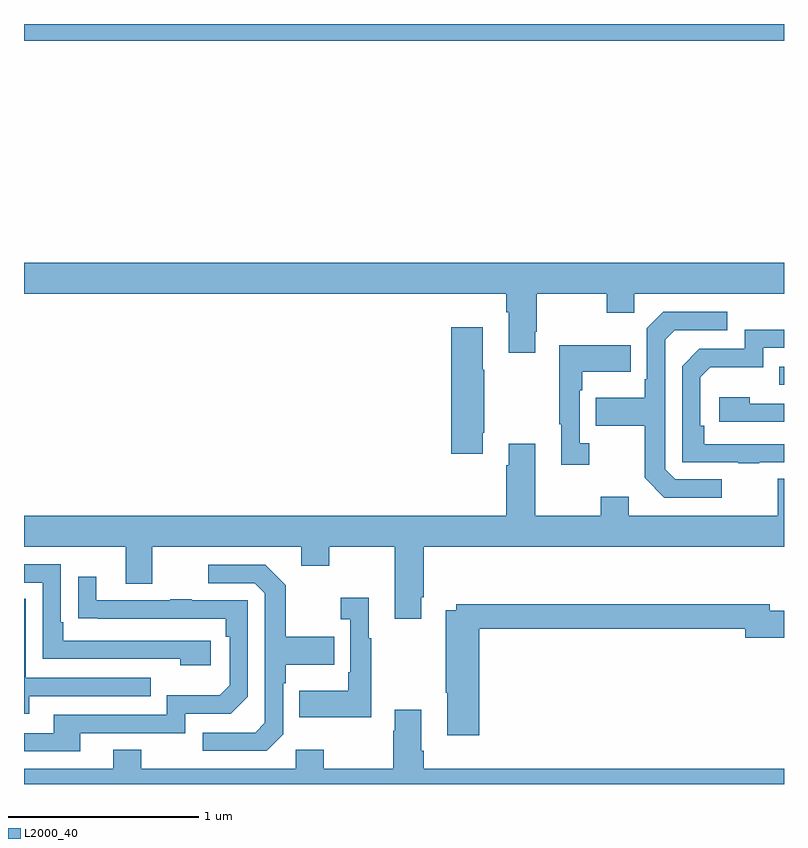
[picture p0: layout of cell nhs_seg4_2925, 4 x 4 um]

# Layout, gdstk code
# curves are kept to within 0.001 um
import gdstk
lib = gdstk.Library(unit=1e-6, precision=1e-09)
def R(c, l, rs):  # rectangles x0, y0, x1, y1
    for r in rs: c.add(gdstk.rectangle(r[:2], r[2:], *l))
def P(c, l, *ps):  # polygons
    for p in ps: c.add(gdstk.Polygon(p, *l))
L2000_40 = (2000, 40)

nhs_seg4_2925 = lib.new_cell('nhs_seg4_2925')
R(nhs_seg4_2925, L2000_40, [(268.975,803.001,269,803.097), (265,804.812,269,804.9)])
P(nhs_seg4_2925, L2000_40, [(267.691,803.281),(267.699,803.281),(267.699,803.48),(268.066,803.48),(268.066,803.381),(268.212,803.381),(268.212,803.48),(269,803.48),(269,803.644),(265,803.644),(265,803.48),(267.539,803.48),(267.539,803.384),(267.551,803.384),(267.551,803.169),(267.691,803.169)],
  [(268.672,802.503),(268.428,802.503),(268.374,802.557),(268.374,803.238),(268.425,803.289),(268.702,803.289),(268.702,803.385),(268.365,803.385),(268.278,803.298),(268.278,803.029),(268.266,803.029),(268.266,802.933),(268.009,802.933),(268.009,802.786),(268.266,802.786),(268.266,802.513),(268.371,802.407),(268.672,802.407)],
  [(267.415,802.75),(267.423,802.75),(267.423,803.081),(267.415,803.081),(267.415,803.305),(267.248,803.305),(267.248,802.638),(267.415,802.638)],
  [(268.871,802.593),(269,802.593),(269,802.689),(268.58,802.689),(268.58,802.786),(268.56,802.786),(268.56,803.04),(268.613,803.093),(268.89,803.093),(268.89,803.196),(269,803.196),(269,803.292),(268.794,803.292),(268.794,803.19),(268.554,803.19),(268.464,803.1),(268.464,802.593),(268.759,802.593),(268.759,802.588),(268.871,802.588)],
  [(267.976,802.694),(267.924,802.694),(267.924,802.973),(267.937,802.973),(267.937,803.069),(268.193,803.069),(268.193,803.209),(267.816,803.209),(267.816,802.793),(267.827,802.793),(267.827,802.581),(267.976,802.581)],
  [(269,802.902),(268.82,802.902),(268.82,802.936),(268.659,802.936),(268.659,802.806),(269,802.806)],
  [(267.091,801.883),(267.104,801.883),(267.104,802.148),(269,802.148),(269,802.507),(268.967,802.507),(268.967,802.312),(268.183,802.312),(268.183,802.411),(268.036,802.411),(268.036,802.312),(267.691,802.312),(267.691,802.69),(267.551,802.69),(267.551,802.577),(267.539,802.577),(267.539,802.312),(265,802.312),(265,802.148),(265.535,802.148),(265.535,801.954),(265.675,801.954),(265.675,802.148),(266.459,802.148),(266.459,802.049),(266.607,802.049),(266.607,802.148),(266.951,802.148),(266.951,801.771),(267.091,801.771)],
  [(265.984,801.654),(265.207,801.654),(265.207,801.751),(265.194,801.751),(265.194,802.056),(265,802.056),(265,801.96),(265.098,801.96),(265.098,801.558),(265.823,801.558),(265.823,801.524),(265.984,801.524)],
  [(266.364,801.162),(266.364,801.431),(266.377,801.431),(266.377,801.527),(266.633,801.527),(266.633,801.675),(266.377,801.675),(266.377,801.947),(266.271,802.053),(265.971,802.053),(265.971,801.957),(266.214,801.957),(266.268,801.903),(266.268,801.222),(266.217,801.171),(265.941,801.171),(265.941,801.075),(266.277,801.075)],
  [(265.297,801.168),(265.848,801.168),(265.848,801.27),(266.088,801.27),(266.178,801.36),(266.178,801.867),(265.883,801.867),(265.883,801.872),(265.771,801.872),(265.771,801.867),(265.381,801.867),(265.381,801.991),(265.285,801.991),(265.285,801.772),(266.062,801.771),(266.062,801.674),(266.082,801.674),(266.082,801.42),(266.029,801.367),(265.752,801.367),(265.752,801.264),(265.157,801.264),(265.157,801.168),(265,801.168),(265,801.072),(265.297,801.072)],
  [(266.827,801.667),(266.815,801.667),(266.815,801.88),(266.667,801.88),(266.667,801.767),(266.718,801.767),(266.718,801.487),(266.706,801.487),(266.706,801.391),(266.449,801.391),(266.449,801.251),(266.827,801.251)],
  [(265.027,801.363),(265.667,801.363),(265.667,801.459),(265.008,801.459),(265.008,801.875),(265,801.875),(265,801.269),(265.027,801.269)],
  [(267.395,801.718),(268.796,801.718),(268.796,801.671),(269,801.671),(269,801.813),(268.924,801.813),(268.924,801.847),(267.276,801.847),(267.276,801.814),(267.22,801.814),(267.22,801.379),(267.227,801.379),(267.227,801.156),(267.395,801.156)],
  [(269,800.98),(267.104,800.98),(267.104,801.076),(267.091,801.076),(267.091,801.292),(266.951,801.292),(266.951,801.179),(266.944,801.179),(266.944,800.98),(266.577,800.98),(266.577,801.079),(266.43,801.079),(266.43,800.98),(265.617,800.98),(265.617,801.079),(265.469,801.079),(265.469,800.98),(265,800.98),(265,800.9),(269,800.9)])

lib.write_gds('nhs_seg4_2925.gds')
